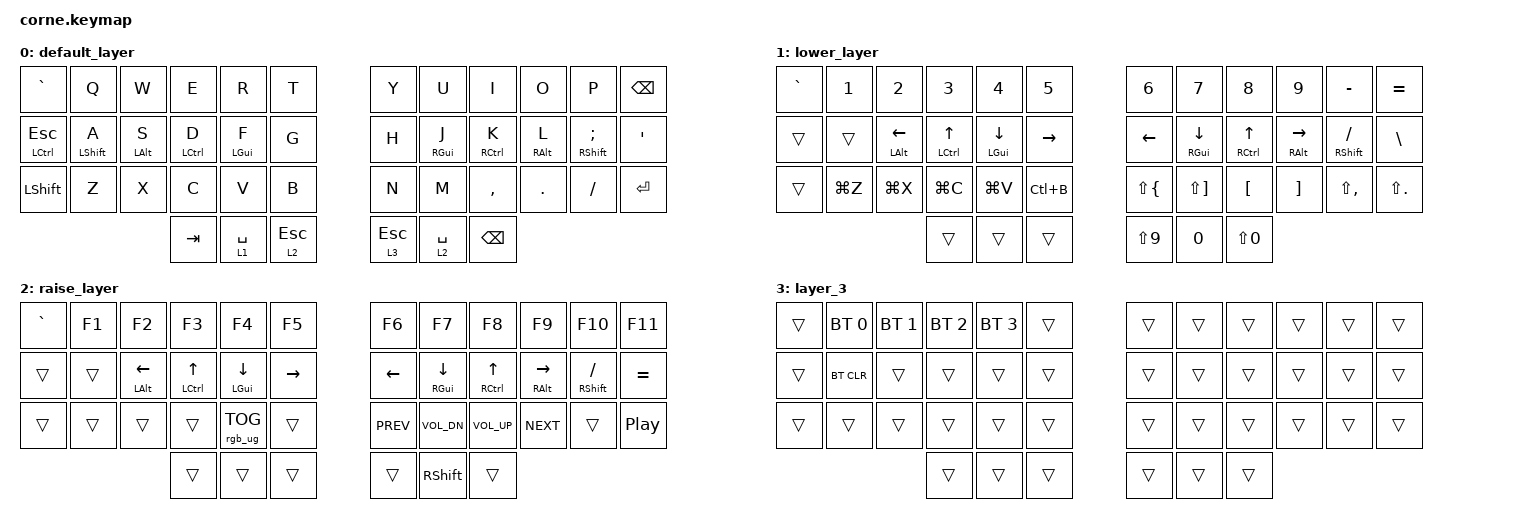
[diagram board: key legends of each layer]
/*
 * Copyright (c) 2020 The ZMK Contributors
 *
 * SPDX-License-Identifier: MIT
 */

#include <behaviors.dtsi>
#include <dt-bindings/zmk/bt.h>
#include <dt-bindings/zmk/keys.h>
#include <dt-bindings/zmk/rgb.h>
#include <dt-bindings/zmk/ext_power.h>



/ {
    behaviors {
        hm: homerow_mods {
            compatible = "zmk,behavior-hold-tap";
            label = "HOMEROW_MODS";
            #binding-cells = <2>;
            tapping-term-ms = <200>;
            flavor = "balanced";
            bindings = <&kp>, <&kp>;

            quick-tap-ms = <200>;
            require-prior-idle-ms = <125>;
            global-quick-tap;
        };

        ltq: ltq {
            compatible = "zmk,behavior-hold-tap";
            label = "LTQ";
            bindings = <&mo>, <&kp>;

            #binding-cells = <2>;
            tapping-term-ms = <600>;
            global-quick-tap;
            quick-tap-ms = <400>;
        };
    };

    /* = < 0  1  2  3  4  5  6  7  8  9 10 11> */
    /* , <12 13 14 15 16 17 18 19 20 21 22 23> */
    /* , <24 25 26 27 28 29 30 31 32 33 34 35> */
    /* , <         36 37 38 39 40 41         >; */
    combos {
        compatible = "zmk,combos";
        screen_shot {
            bindings = <&kp LS(LC(LG(N4)))>;
            key-positions = <13 14 15 16>;
            timeout-ms = <50>;
        };

        /* left_bkt { */
        /*     bindings = <&kp LEFT_BRACKET>; */
        /*     key-positions = <4 3>; */
        /*     timeout-ms = <50>; */
        /* }; */
        /**/
        /* right_bkt { */
        /*     bindings = <&kp RBKT>; */
        /*     key-positions = <7 8>; */
        /*     timeout-ms = <50>; */
        /* }; */
        /**/
        /* copy { */
        /*     bindings = <&kp LG(C)>; */
        /*     key-positions = <15 16>; */
        /*     timeout-ms = <50>; */
        /* }; */
        /**/
        /* paste { */
        /*     bindings = <&kp LG(V)>; */
        /*     key-positions = <19 20>; */
        /*     timeout-ms = <50>; */
        /* }; */
        /**/
        /* left_brace { */
        /*     bindings = <&kp LEFT_BRACE>; */
        /*     key-positions = <27 28>; */
        /*     timeout-ms = <50>; */
        /* }; */
        /**/
        /* right_brace { */
        /*     bindings = <&kp RIGHT_BRACE>; */
        /*     key-positions = <32 31>; */
        /*     timeout-ms = <50>; */
        /* }; */
        /**/
        /* bac { */
        /*     bindings = <&kp BACKSLASH>; */
        /*     key-positions = <5 6>; */
        /* }; */
        /**/
        /* pipe { */
        /*     bindings = <&kp PIPE>; */
        /*     key-positions = <17 18>; */
        /* }; */
    };

    keymap {
        compatible = "zmk,keymap";

        default_layer {
            bindings = <
&kp GRAVE &kp Q &kp W &kp E &kp R &kp T &kp Y &kp U &kp I &kp O &kp P &kp BSPC
&hm LCTRL ESC &hm LEFT_SHIFT A &hm LEFT_ALT S &hm LCTRL D &hm LEFT_GUI F &kp G  &kp H &hm RGUI J &hm RCTRL K &hm RIGHT_ALT L &hm RSHIFT SEMICOLON &kp SQT
&kp LSHFT &kp Z &kp X &kp C &kp V &kp B  &kp N &kp M &kp COMMA &kp DOT &kp FSLH &kp ENTER
   &kp TAB &lt 1 SPACE &lt 2 ESC  &lt 3 ESC &ltq 2 SPACE &kp BSPC   
            >;
        };

        lower_layer {
            bindings = <
&kp GRAVE	&kp N1	&kp N2	&kp N3	&kp N4	&kp N5		&kp N6	&kp N7	&kp N8	&kp N9	&kp MINUS	&kp EQUAL
&trans	&trans	&hm LALT LEFT	&hm LCTRL UP	&hm LEFT_GUI DOWN	&kp RIGHT		&kp LEFT	&hm RGUI DOWN	&hm RCTRL UP	&hm RALT RIGHT	&hm RSHIFT FSLH	&kp BSLH
&trans	&kp LG(Z)	&kp LG(X)	&kp LG(C)	&kp LG(V)	&kp LC(B)		&kp LS(LBRC)	&kp LS(RBKT)	&kp LBKT	&kp RBKT	&kp LS(COMMA)	&kp LS(DOT)
			&trans	&trans	&trans		&kp LS(N9)	&kp N0	&kp LS(N0)			
            >;
        };

        raise_layer {
            bindings = <
&kp GRAVE	&kp F1	&kp F2	&kp F3	&kp F4	&kp F5		&kp F6	&kp F7	&kp F8	&kp F9	&kp F10	&kp F11
&trans	&trans	&hm LALT LEFT	&hm LCTRL UP	&hm LEFT_GUI DOWN	&kp RIGHT		&kp LEFT	&hm RGUI DOWN	&hm RCTRL UP	&hm RALT RIGHT	&hm RSHIFT SLASH	&kp EQUAL
&trans	&trans	&trans	&trans	&rgb_ug RGB_TOG	&trans		&kp C_PREV	&kp C_VOL_DN	&kp C_VOL_UP	&kp C_NEXT	&trans	&kp C_PP
			&trans	&trans	&trans		&trans	&kp RIGHT_SHIFT	&trans			
            >;
        };

        layer_3 {
            bindings = <
&trans  &bt BT_SEL 0  &bt BT_SEL 1  &bt BT_SEL 2  &bt BT_SEL 3  &trans        &trans  &trans  &trans  &trans  &trans  &trans
&trans  &bt BT_CLR    &trans        &trans        &trans        &trans        &trans  &trans  &trans  &trans  &trans  &trans
&trans  &trans        &trans        &trans        &trans        &trans        &trans  &trans  &trans  &trans  &trans  &trans
                                    &trans        &trans        &trans        &trans  &trans  &trans
            >;
        };
        extra1 {
            status = "reserved";
        };
        extra2 {
            status = "reserved";
        };
        extra3 {
            status = "reserved";
        };
        extra4 {
            status = "reserved";
        };

    };
};

